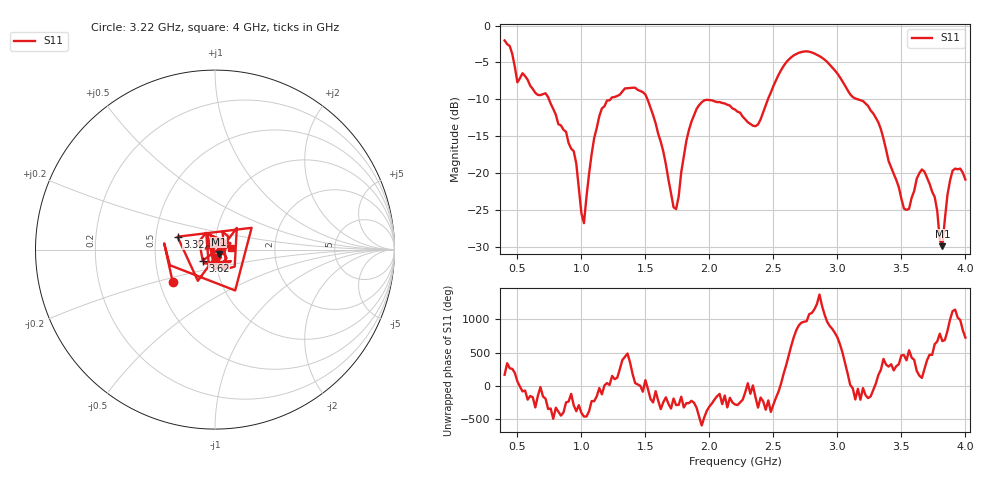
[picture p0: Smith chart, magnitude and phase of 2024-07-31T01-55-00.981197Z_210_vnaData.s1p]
!Created with skrf (http://scikit-rf.org).
# Hz S RI R 50.0
!freq ReS11 ImS11
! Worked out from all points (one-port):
!   181 points, 400 MHz to 4 GHz, reference 50 ohm
!   lowest |S11| = -29.9 dB at 3.82 GHz (marker M1), VSWR 1.07, Z = 52.1 - j2.48 ohm
!   |S11| at or under -10 dB: 746.9 MHz to 1.226 GHz (479.3 MHz wide, 48.6 % of centre); 1.516 GHz to 2.457 GHz (941 MHz wide, 47.4 % of centre); 3.161 GHz to end of sweep
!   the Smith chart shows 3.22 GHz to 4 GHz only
!   S11 on the Smith chart (normalised r, x): 3.22 GHz: 0.58, -0.23; 3.32 GHz: 0.65, +0.10; 3.62 GHz: 0.87, -0.11; 4 GHz: 1.20, +0.02
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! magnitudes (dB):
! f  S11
! 400 MHz  -2.0
! 500 MHz  -7.7
! 720 MHz  -9.2
! 860 MHz  -14.1
! 940 MHz  -17.0
! 1.02 GHz  -26.8
! 1.08 GHz  -17.4
! 1.14 GHz  -12.3
! 1.3 GHz  -9.4
! 1.5 GHz  -9.3
! 1.72 GHz  -24.6
! 1.76 GHz  -23.2
! 1.82 GHz  -15.6
! 1.9 GHz  -11.3
! 2.2 GHz  -11.4
! 2.38 GHz  -13.4
! 2.66 GHz  -4.0
! 2.88 GHz  -4.4
! 3.1 GHz  -9.3
! 3.22 GHz  -10.6
! 3.32 GHz  -13.1
! 3.56 GHz  -24.8
! 3.62 GHz  -20.7
! 3.68 GHz  -19.8
! 3.76 GHz  -23.2
! 3.82 GHz  -29.9
! 3.9 GHz  -19.6
! 4 GHz  -20.9
